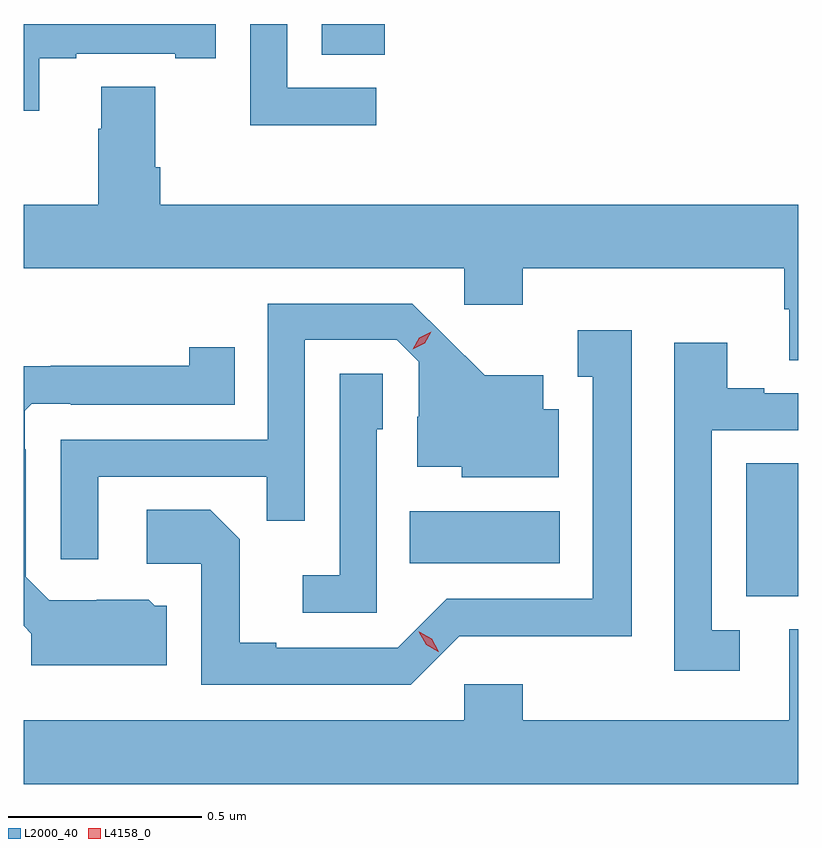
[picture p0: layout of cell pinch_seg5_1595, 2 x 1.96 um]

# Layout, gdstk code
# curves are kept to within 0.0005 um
import gdstk
lib = gdstk.Library(unit=1e-6, precision=1e-09)
def R(c, l, rs):  # rectangles x0, y0, x1, y1
    for r in rs: c.add(gdstk.rectangle(r[:2], r[2:], *l))
def P(c, l, *ps):  # polygons
    for p in ps: c.add(gdstk.Polygon(p, *l))
L2000_40 = (2000, 40)
L4158_0 = (4158, 0)

pinch_seg5_1595 = lib.new_cell('pinch_seg5_1595')
R(pinch_seg5_1595, L2000_40, [(301.184,859.909,301.319,860.252), (300.316,859.994,300.703,860.128), (300.089,861.307,300.251,861.386)])
P(pinch_seg5_1595, L2000_40, [(299.359,861.297),(299.455,861.297),(299.455,861.309),(299.711,861.309),(299.711,861.297),(299.815,861.297),(299.815,861.386),(299.319,861.386),(299.319,861.162),(299.359,861.162)],
  [(300.229,861.222),(300,861.222),(300,861.386),(299.904,861.386),(299.904,861.125),(300.229,861.125)],
  [(301.319,860.92),(299.672,860.92),(299.672,861.016),(299.659,861.016),(299.659,861.224),(299.519,861.224),(299.519,861.116),(299.512,861.116),(299.512,860.92),(299.319,860.92),(299.319,860.756),(300.456,860.756),(300.456,860.661),(300.608,860.661),(300.608,860.756),(301.283,860.756),(301.283,860.65),(301.295,860.65),(301.295,860.518),(301.319,860.518)],
  [(299.511,860.217),(299.947,860.217),(299.947,860.104),(300.045,860.104),(300.045,860.571),(300.282,860.571),(300.339,860.514),(300.339,860.372),(300.335,860.372),(300.335,860.243),(300.45,860.243),(300.45,860.216),(300.7,860.216),(300.7,860.392),(300.661,860.392),(300.661,860.479),(300.509,860.479),(300.322,860.664),(299.949,860.664),(299.949,860.313),(299.415,860.313),(299.415,860.004),(299.511,860.004)],
  [(300.444,859.806),(300.666,859.806),(300.666,859.805),(300.889,859.805),(300.889,860.596),(300.749,860.596),(300.749,860.475),(300.788,860.475),(300.788,859.902),(300.411,859.902),(300.285,859.776),(299.971,859.776),(299.971,859.789),(299.877,859.789),(299.877,860.056),(299.801,860.132),(299.637,860.132),(299.637,859.992),(299.778,859.992),(299.778,859.68),(300.318,859.68)],
  [(301.168,859.821),(301.095,859.821),(301.095,860.337),(301.319,860.337),(301.319,860.433),(301.231,860.433),(301.231,860.446),(301.135,860.446),(301.135,860.563),(300.999,860.563),(300.999,859.716),(301.168,859.716)],
  [(299.689,859.884),(299.658,859.884),(299.642,859.9),(299.508,859.9),(299.508,859.899),(299.385,859.899),(299.325,859.959),(299.325,860.288),(299.322,860.288),(299.322,860.388),(299.34,860.406),(299.44,860.406),(299.44,860.403),(299.864,860.403),(299.864,860.551),(299.746,860.551),(299.746,860.504),(299.389,860.504),(299.389,860.503),(299.319,860.503),(299.319,859.832),(299.339,859.812),(299.339,859.73),(299.689,859.73)],
  [(300.231,860.34),(300.246,860.34),(300.246,860.483),(300.135,860.483),(300.135,859.963),(300.039,859.963),(300.039,859.866),(300.231,859.866)],
  [(301.319,859.824),(301.295,859.824),(301.295,859.588),(300.608,859.588),(300.608,859.681),(300.456,859.681),(300.456,859.588),(299.319,859.588),(299.319,859.424),(301.319,859.424)])
P(pinch_seg5_1595, L4158_0, [(300.389,859.766),(300.358,859.784),(300.339,859.817),(300.339,859.817),(300.34,859.817),(300.372,859.799),(300.39,859.766),(300.39,859.766)],
  [(300.323,860.546),(300.323,860.546),(300.34,860.576),(300.371,860.592),(300.371,860.592),(300.371,860.592),(300.354,860.562),(300.324,860.546)])

lib.write_gds('pinch_seg5_1595.gds')
